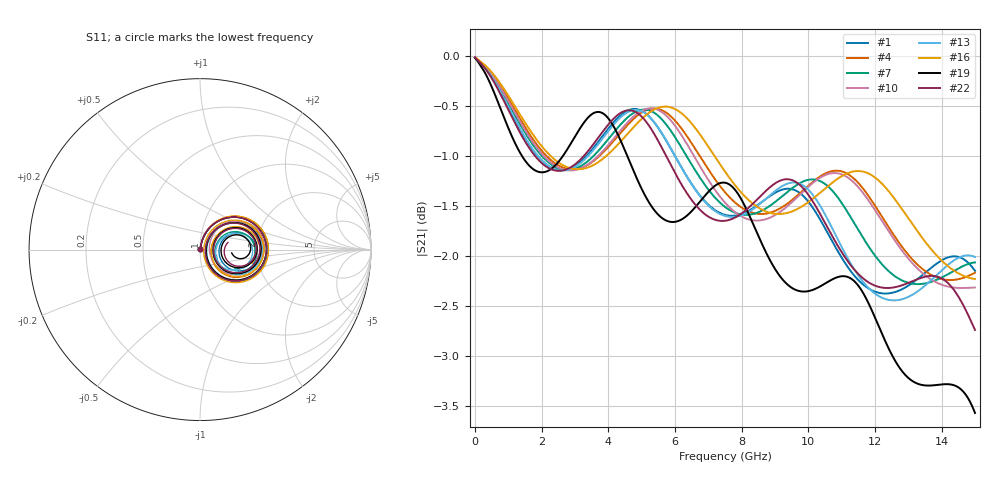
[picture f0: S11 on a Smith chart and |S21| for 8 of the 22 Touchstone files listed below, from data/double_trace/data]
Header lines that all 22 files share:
! Created with skrf 1.8.0 (http://scikit-rf.org).
# GHz S RI R 50.0
!freq ReS11 ImS11 ReS12 ImS12 ReS13 ImS13
! ReS14 ImS14
! ReS21 ImS21 ReS22 ImS22 ReS23 ImS23
! ReS24 ImS24
! ReS31 ImS31 ReS32 ImS32 ReS33 ImS33
! ReS34 ImS34
! ReS41 ImS41 ReS42 ImS42 ReS43 ImS43
! ReS44 ImS44
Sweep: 5 MHz to 15 GHz
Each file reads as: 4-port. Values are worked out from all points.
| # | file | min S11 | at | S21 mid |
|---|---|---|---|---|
| 1 | 201.s4p | -53.1 dB | 5 MHz | -1.5 dB at 7.19 GHz |
| 2 | 203.s4p | -54.2 dB | 5 MHz | -1.2 dB at 7.19 GHz |
| 3 | 205.s4p | -53.3 dB | 5 MHz | -1.5 dB at 7.19 GHz |
| 4 | 207.s4p | -54.1 dB | 5 MHz | -1.2 dB at 7.19 GHz |
| 5 | 209.s4p | -53.8 dB | 5 MHz | -1.3 dB at 7.19 GHz |
| 6 | 212.s4p | -54.7 dB | 5 MHz | -0.9 dB at 7.19 GHz |
| 7 | 213.s4p | -53.6 dB | 5 MHz | -1.4 dB at 7.19 GHz |
| 8 | 215.s4p | -52.5 dB | 5 MHz | -1.6 dB at 7.19 GHz |
| 9 | 216.s4p | -53.4 dB | 5 MHz | -1.5 dB at 7.19 GHz |
| 10 | 218.s4p | -54.0 dB | 5 MHz | -1.3 dB at 7.19 GHz |
| 11 | 220.s4p | -53.1 dB | 5 MHz | -1.6 dB at 7.19 GHz |
| 12 | 221.s4p | -53.2 dB | 5 MHz | -1.6 dB at 7.19 GHz |
| 13 | 223.s4p | -53.2 dB | 5 MHz | -1.5 dB at 7.19 GHz |
| 14 | 224.s4p | -54.3 dB | 5 MHz | -1.2 dB at 7.19 GHz |
| 15 | 225.s4p | -51.9 dB | 5 MHz | -1.5 dB at 7.19 GHz |
| 16 | 229.s4p | -54.5 dB | 5 MHz | -1.0 dB at 7.19 GHz |
| 17 | 230.s4p | -52.4 dB | 5 MHz | -1.6 dB at 7.19 GHz |
| 18 | 232.s4p | -51.8 dB | 5 MHz | -1.6 dB at 7.19 GHz |
| 19 | 233.s4p | -50.9 dB | 5 MHz | -1.3 dB at 7.19 GHz |
| 20 | 235.s4p | -55.5 dB | 5 MHz | -0.7 dB at 7.19 GHz |
| 21 | 237.s4p | -53.5 dB | 5 MHz | -1.5 dB at 7.19 GHz |
| 22 | 238.s4p | -52.9 dB | 5 MHz | -1.6 dB at 7.19 GHz |
